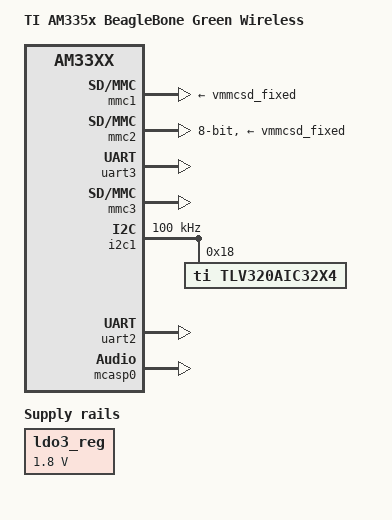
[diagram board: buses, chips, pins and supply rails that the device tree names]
/*
 * Copyright (C) 2012 Texas Instruments Incorporated - http://www.ti.com/
 *
 * This program is free software; you can redistribute it and/or modify
 * it under the terms of the GNU General Public License version 2 as
 * published by the Free Software Foundation.
 */
/dts-v1/;

#include "am33xx.dtsi"
#include "am335x-bone-common.dtsi"
#include "am335x-bonegreen-wl1835.dtsi"

/* pruss: pick one: */

/*
 * /etc/modprobe.d/pruss-blacklist.conf
 *
 * blacklist uio_pruss
 */

/* #include "am33xx-pruss-rproc.dtsi" */

/*
 * /etc/modprobe.d/pruss-blacklist.conf
 *
 * blacklist pruss
 * blacklist pruss_intc
 * blacklist pru-rproc
 */

/* #include "am33xx-pruss-uio.dtsi" */

/ {
	model = "TI AM335x BeagleBone Green Wireless";
	compatible = "ti,am335x-bone-green", "ti,am335x-bone-black", "ti,am335x-bone", "ti,am33xx";
};

&ldo3_reg {
	regulator-min-microvolt = <1800000>;
	regulator-max-microvolt = <1800000>;
	regulator-always-on;
};

&mmc1 {
	vmmc-supply = <&vmmcsd_fixed>;
};

&mmc2 {
	vmmc-supply = <&vmmcsd_fixed>;
	pinctrl-names = "default";
	pinctrl-0 = <&emmc_pins>;
	bus-width = <8>;
	status = "okay";
};

&uart3 {
	status = "okay";
};

&mmc3 {
	status = "okay";
};

&mac {
	status = "disabled";
};

&gpio2 {
	ti,no-reset-on-init;
};

&am33xx_pinmux {
	mcasp0_pins: mcasp0_pins {
		pinctrl-single,pins = <
			0x190 (PIN_OUTPUT_PULLDOWN | MUX_MODE0)	/* mcasp0_aclkx */
			0x194 (PIN_OUTPUT_PULLDOWN | MUX_MODE0)	/* mcasp0_fsx*/
			0x198 (PIN_OUTPUT_PULLDOWN | MUX_MODE0)	/* mcasp0_axr0 */
			0x1ac (PIN_INPUT_PULLDOWN | MUX_MODE0)	/* mcasp0_ahclkx */
		>;
	};

	i2c1_pins: pinmux_i2c1_pins {
		pinctrl-single,pins = <
			0x158 (PIN_INPUT_PULLUP | MUX_MODE2)	/* i2c1_sda */
			0x15c (PIN_INPUT_PULLUP | MUX_MODE2)	/* i2c1_scl */
		>;
	};

	micarray_pins: pinmux_micarray_pins {
		pinctrl-single,pins = <
			0x07c (PIN_OUTPUT_PULLDOWN | MUX_MODE7)		/* gpio1_29 as MCU BOOT0 */
			0x094 (PIN_OUTPUT_PULLDOWN | MUX_MODE7) 	/* gpio2_3 as output pin to MCU*/
			0x040 (PIN_INPUT_PULLUP | MUX_MODE7) 		/* gpio1_16 as input from MCU */
			0x090 (PIN_OUTPUT_PULLUP | MUX_MODE7) 	/* gpio2_2 as MCU NRST */
		>;
	};

	mic_uart2_pins: pinmux_uart2_pins {
		pinctrl-single,pins = <
			0x10c (PIN_INPUT_PULLUP | MUX_MODE6)	/* mii1_crs.uart2_rxd */
			0x110 (PIN_OUTPUT_PULLDOWN | MUX_MODE6)	/* mii1_rxerr.uart2_txd */
		>;
	};

};

&i2c1 {
	#address-cells = <1>;
	#size-cells = <0>;
	clock-frequency = <100000>;
	status = "okay";
	pinctrl-names = "default";
	pinctrl-0 = <&i2c1_pins>;

	tlv320aic32x4: tlv320aic32x4@18 {
		compatible = "ti,tlv320aic32x4";
		reg = <0x18>;
		status = "okay";
	};
};


&uart2 {
	pinctrl-names = "default";
	pinctrl-0 = <&mic_uart2_pins>;

	status = "okay";
};

&mcasp0 {
	#sound-dai-cells = <0>;
	pinctrl-names = "default";
	pinctrl-0 = <&mcasp0_pins>;
	status = "okay";
	op-mode = <0>;          /* MCASP_IIS_MODE */
	tdm-slots = <2>;
	/* 4 serializer */
	serial-dir = <  /* 0: INACTIVE, 1: TX, 2: RX */
		1 0 0 0
	>;
	tx-num-evt = <32>;
	rx-num-evt = <32>;
};

/ {
	sound {
		compatible = "ti,tlv320aic32x4-evm-audio";
		ti,model = "TI TLV320AIC32X4";
		ti,audio-codec = <&tlv320aic32x4>;
		ti,mcasp-controller = <&mcasp0>;
		ti,codec-clock-rate = <24000000>;
	};

	micarray_pinmux {
		compatible = "bone-pinmux-helper";
		status = "okay";
		pinctrl-names = "default", "gpio";
		pinctrl-0 = <&micarray_pins>;
	};
};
